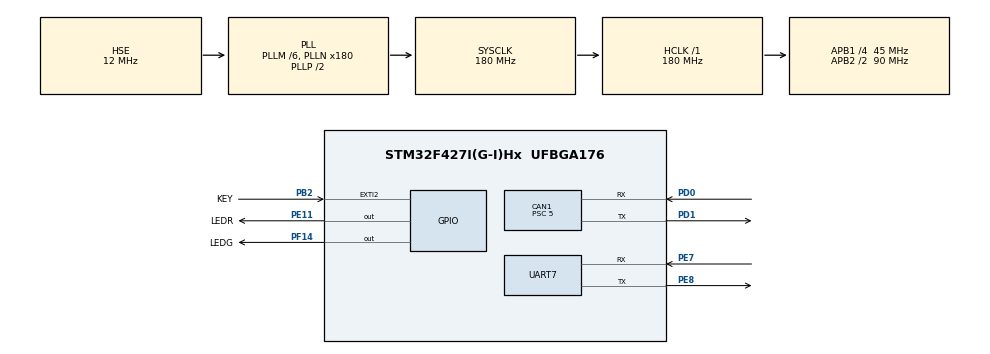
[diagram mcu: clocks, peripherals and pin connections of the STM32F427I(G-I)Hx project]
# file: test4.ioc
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CAN1.BS1=CAN_BS1_6TQ
CAN1.BS2=CAN_BS2_2TQ
CAN1.CalculateBaudRate=1000000
CAN1.CalculateTimeBit=1000
CAN1.CalculateTimeQuantum=111.11111111111111
CAN1.Prescaler=5
Mcu.Family=STM32F4
Mcu.Name=STM32F427I(G-I)Hx
Mcu.Package=UFBGA176
NVIC.CAN1_RX0_IRQn=true\:0\:0\:false\:false\:true\:true\:true\:true
NVIC.EXTI2_IRQn=true\:2\:0\:true\:false\:true\:true\:true\:true
NVIC.PriorityGroup=NVIC_PRIORITYGROUP_4
NVIC.TIM1_UP_TIM10_IRQn=true\:0\:0\:false\:false\:true\:true\:true\:true
NVIC.TIM6_DAC_IRQn=true\:0\:0\:false\:false\:true\:true\:true\:true
NVIC.UART7_IRQn=true\:0\:0\:false\:false\:true\:true\:true\:true
PA13.Mode=Serial_Wire
PA13.Signal=SYS_JTMS-SWDIO
PA14.Mode=Serial_Wire
PA14.Signal=SYS_JTCK-SWCLK
PB2/BOOT1.GPIO_Label=KEY
PB2/BOOT1.Signal=GPXTI2
PD0.Mode=CAN_Activate
PD0.Signal=CAN1_RX
PD1.Mode=CAN_Activate
PD1.Signal=CAN1_TX
PE11.GPIO_Label=LEDR
PE11.Signal=GPIO_Output
PE7.Mode=Asynchronous
PE7.Signal=UART7_RX
PE8.Mode=Asynchronous
PE8.Signal=UART7_TX
PF14.GPIO_Label=LEDG
PF14.Signal=GPIO_Output
PH0/OSC_IN.Mode=HSE-External-Oscillator
PH0/OSC_IN.Signal=RCC_OSC_IN
PH1/OSC_OUT.Mode=HSE-External-Oscillator
PH1/OSC_OUT.Signal=RCC_OSC_OUT
ProjectManager.HeapSize=0x200
ProjectManager.StackSize=0x400
ProjectManager.TargetToolchain=CMake
RCC.48MHZClocksFreq_Value=90000000
RCC.AHBFreq_Value=180000000
RCC.APB1CLKDivider=RCC_HCLK_DIV4
RCC.APB1Freq_Value=45000000
RCC.APB1TimFreq_Value=90000000
RCC.APB2CLKDivider=RCC_HCLK_DIV2
RCC.APB2Freq_Value=90000000
RCC.APB2TimFreq_Value=180000000
RCC.CortexFreq_Value=180000000
RCC.HCLKFreq_Value=180000000
RCC.HSE_VALUE=12000000
RCC.HSI_VALUE=16000000
RCC.LSE_VALUE=32768
RCC.PLLM=6
RCC.PLLN=180
RCC.PLLSourceVirtual=RCC_PLLSOURCE_HSE
RCC.SYSCLKFreq_VALUE=180000000
RCC.SYSCLKSource=RCC_SYSCLKSOURCE_PLLCLK
RCC.VCOOutputFreq_Value=360000000
TIM1.Period=100-1
TIM1.Prescaler=180-1
TIM6.Period=999
TIM6.Prescaler=179
UART7.VirtualMode=Asynchronous
UART7.WordLength=WORDLENGTH_8B
VP_IWDG_VS_IWDG.Mode=IWDG_Activate
VP_TIM1_VS_ClockSourceINT.Mode=Internal
VP_TIM6_VS_ClockSourceINT.Mode=Enable_Timer
board=custom

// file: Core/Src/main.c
/* USER CODE BEGIN Header */
/**
 ******************************************************************************
 * @file           : main.c
 * @brief          : Main program body
 ******************************************************************************
 * @attention
 *
 * Copyright (c) 2025 STMicroelectronics.
 * All rights reserved.
 *
 * This software is licensed under terms that can be found in the LICENSE file
 * in the root directory of this software component.
 * If no LICENSE file comes with this software, it is provided AS-IS.
 *
 ******************************************************************************
 */
/* USER CODE END Header */
#include "main.h"
#include "can.h"
#include "iwdg.h"
#include "tim.h"
#include "usart.h"
#include "gpio.h"

/* USER CODE BEGIN Includes */
#include "math.h"
/* USER CODE END Includes */

/* USER CODE BEGIN PD */
#define HARUHIKAGE_BPM 97
/* USER CODE END PD */

/* USER CODE BEGIN PV */

uint32_t ticks;

// uint8_t rx_msg[4];

CAN_RxHeaderTypeDef rx_header;
CAN_TxHeaderTypeDef tx_header = {.StdId = 0x200,
                                 .ExtId = 0,
                                 .IDE = CAN_ID_STD,
                                 .RTR = CAN_RTR_DATA,
                                 .DLC = 8,
                                 .TransmitGlobalTime = DISABLE};

uint8_t tx_data[8] = {0x00, 0x00, 0x00, 0x00, 0x00, 0x00, 0x00, 0x00};
uint8_t rx_data[8];
uint32_t can_tx_mail_box_;

CAN_FilterTypeDef filter_config = {
        .FilterIdHigh = 0x0000,
        .FilterIdLow = 0x0000,
        .FilterMaskIdHigh = 0x0000,
        .FilterMaskIdLow = 0x0000,
        .FilterFIFOAssignment = CAN_FILTER_FIFO0,
        .FilterBank = 0,
        .FilterMode = CAN_FILTERMODE_IDMASK,
        .FilterScale = CAN_FILTERSCALE_32BIT,
        .FilterActivation = ENABLE,
};

/* USER CODE END PV */

void SystemClock_Config(void);

/* USER CODE BEGIN 0 */
volatile uint8_t stop_flag = 1;//1表示停止，0表示运行
void key_read(void) {
    if (HAL_GPIO_ReadPin(KEY_GPIO_Port, KEY_Pin) == GPIO_PIN_RESET) {
        HAL_Delay(40);// 消抖
        if (HAL_GPIO_ReadPin(KEY_GPIO_Port, KEY_Pin) == GPIO_PIN_RESET) {
            stop_flag = !stop_flag;

            if (stop_flag == 1) {
                HAL_GPIO_WritePin(LEDR_GPIO_Port, LEDR_Pin, GPIO_PIN_RESET);

            } else {
                HAL_GPIO_WritePin(LEDR_GPIO_Port, LEDR_Pin, GPIO_PIN_SET);
            }

            while (HAL_GPIO_ReadPin(KEY_GPIO_Port, KEY_Pin) == GPIO_PIN_RESET)
                ;
        }
    }
}
/* USER CODE END 0 */

int main(void)
{

  /* MCU Configuration--------------------------------------------------------*/

  /* Reset of all peripherals, Initializes the Flash interface and the Systick. */
  HAL_Init();

  /* Configure the system clock */
  SystemClock_Config();

  /* Initialize all configured peripherals */
  MX_GPIO_Init();
  MX_TIM1_Init();
  MX_UART7_Init();
  MX_TIM6_Init();
  MX_CAN1_Init();
  //MX_IWDG_Init();
  /* USER CODE BEGIN 2 */
    //  HAL_UART_Receive_IT(&huart7, rx_msg, 3);
    //  uint8_t tx_msg[] = "RoboMaster";
    HAL_CAN_ConfigFilter(&hcan1, &filter_config);
    HAL_CAN_Start(&hcan1);

    HAL_CAN_ActivateNotification(&hcan1, CAN_IT_RX_FIFO0_MSG_PENDING);
    HAL_TIM_Base_Start_IT(&htim6);

    ticks = 10;
  /* USER CODE END 2 */

  /* Infinite loop */
    while (1) {

    /* USER CODE BEGIN 3 */

        //    HAL_UART_Transmit(&huart7, tx_msg, sizeof(tx_msg), 1000);
        //    HAL_Delay(1000);
    }
  /* USER CODE END 3 */
}

void SystemClock_Config(void)
{
  RCC_OscInitTypeDef RCC_OscInitStruct = {0};
  RCC_ClkInitTypeDef RCC_ClkInitStruct = {0};

  /** Configure the main internal regulator output voltage
  */
  __HAL_RCC_PWR_CLK_ENABLE();
  __HAL_PWR_VOLTAGESCALING_CONFIG(PWR_REGULATOR_VOLTAGE_SCALE1);

  /** Initializes the RCC Oscillators according to the specified parameters
  * in the RCC_OscInitTypeDef structure.
  */
  RCC_OscInitStruct.OscillatorType = RCC_OSCILLATORTYPE_LSI|RCC_OSCILLATORTYPE_HSE;
  RCC_OscInitStruct.HSEState = RCC_HSE_ON;
  RCC_OscInitStruct.LSIState = RCC_LSI_ON;
  RCC_OscInitStruct.PLL.PLLState = RCC_PLL_ON;
  RCC_OscInitStruct.PLL.PLLSource = RCC_PLLSOURCE_HSE;
  RCC_OscInitStruct.PLL.PLLM = 6;
  RCC_OscInitStruct.PLL.PLLN = 180;
  RCC_OscInitStruct.PLL.PLLP = RCC_PLLP_DIV2;
  RCC_OscInitStruct.PLL.PLLQ = 4;
  if (HAL_RCC_OscConfig(&RCC_OscInitStruct) != HAL_OK)
  {
    Error_Handler();
  }

  /** Activate the Over-Drive mode
  */
  if (HAL_PWREx_EnableOverDrive() != HAL_OK)
  {
    Error_Handler();
  }

  /** Initializes the CPU, AHB and APB buses clocks
  */
  RCC_ClkInitStruct.ClockType = RCC_CLOCKTYPE_HCLK|RCC_CLOCKTYPE_SYSCLK
                              |RCC_CLOCKTYPE_PCLK1|RCC_CLOCKTYPE_PCLK2;
  RCC_ClkInitStruct.SYSCLKSource = RCC_SYSCLKSOURCE_PLLCLK;
  RCC_ClkInitStruct.AHBCLKDivider = RCC_SYSCLK_DIV1;
  RCC_ClkInitStruct.APB1CLKDivider = RCC_HCLK_DIV4;
  RCC_ClkInitStruct.APB2CLKDivider = RCC_HCLK_DIV2;

  if (HAL_RCC_ClockConfig(&RCC_ClkInitStruct, FLASH_LATENCY_5) != HAL_OK)
  {
    Error_Handler();
  }
}

void Error_Handler(void)
{
  /* USER CODE BEGIN Error_Handler_Debug */
    /* User can add his own implementation to report the HAL error return state
   */
    __disable_irq();
    while (1) {
    }
  /* USER CODE END Error_Handler_Debug */
}
#ifdef USE_FULL_ASSERT
/**
  * @brief  Reports the name of the source file and the source line number
  *         where the assert_param error has occurred.
  * @param  file: pointer to the source file name
  * @param  line: assert_param error line source number
  * @retval None
  */
void assert_failed(uint8_t *file, uint32_t line)
{
  /* USER CODE BEGIN 6 */
    /* User can add his own implementation to report the file name and line
     number, ex: printf("Wrong parameters value: file %s on line %d\r\n",
     file, line) */
  /* USER CODE END 6 */
}
#endif /* USE_FULL_ASSERT */
